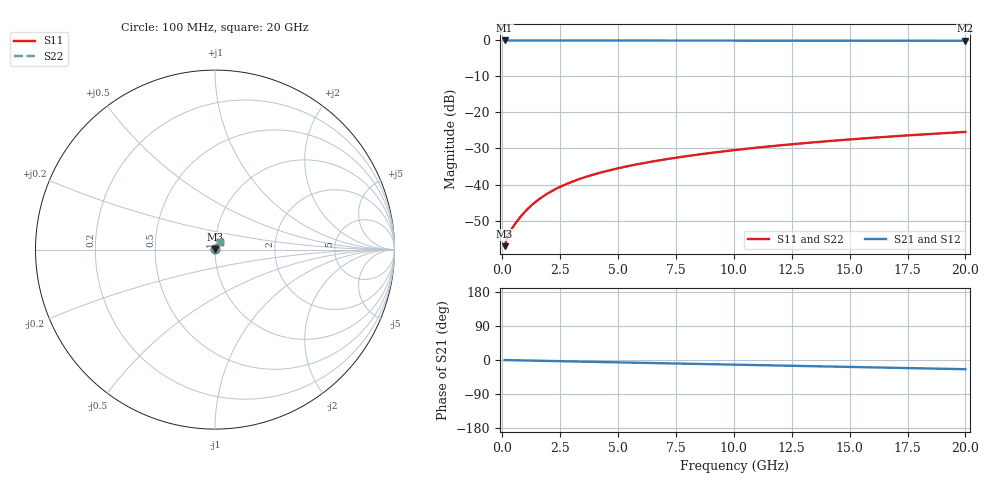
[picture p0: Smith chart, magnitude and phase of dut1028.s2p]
! Touchstone file exported from HFSS 2026.1.0
!  File:  C:/ffzhzh/LocalFiles/Ansys_Project_Files/temp_train_BSMRDL_1028_1783173564_18472.aedt
!  Generated:  10:00:28 PM Jul  4, 2026
!  Design:  BSMRDL
!  Project:  temp_train_BSMRDL_1028_1783173564_18472
! Variables:
!  h_bsmrdl = 5.07um
!  h_ox = 20um
!  h_rdl = 5um
!  h_sub = 80um
!  h_tmrdl = 5um
!  h_tsv = 80um
!  h_via = 3um
!  l_bsmrdl = 416.14um
!  l_sub = 816.14um
!  l_tmrdl = 200um
!  m_sub = 200um
!  pitch = 37.92um
!  r_tsv = 6um
!  s_tmrdl = 10um
!  w_bsmrdl = 29.82um
!  w_sub = 500um
!  w_tmrdl = 12um
!  x_tsv_center1 = 206um
!  x_tsv_center2 = 651.96um
!  x_tsv_center3 = 863.96um
!  x_tsv_center4 = 1309.92um
!  x_tsv_center5 = 1521.92um
!  x_tsv_center6 = 1967.88um
# GHz S MA R 50.000000
! Terminal data exported
! Port[1] = BSM_RDL1_1_T1
! Port[2] = BSM_RDL1_1_T2
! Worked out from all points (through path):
!   200 points, 100 MHz to 20 GHz, reference 50 ohm
!   highest |S21| = -0.01 dB at 100 MHz (marker M1); lowest = -0.1 dB at 20 GHz (marker M2)
!   group delay of S21, straight-line fit = 3.36 ps
!   lowest |S11| = -57.1 dB at 100 MHz (marker M3), VSWR 1.00, Z = 50.1 + j0.0634 ohm
!   |S11| at or under -10 dB: start of sweep to end of sweep
!   |S22| runs from -57.1 to -25.4 dB; largest |S21 - S12| = 1.7e-15
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0.1  0.001393 27.0  0.9988 -0.1  0.9988 -0.1  0.001393 27.0
! Gamma 0 0 0 0
! Port Impedance 50 0 50 0
0.2  0.001791 36.1  0.9986 -0.3  0.9986 -0.3  0.001791 36.1
0.3  0.002108 41.4  0.9984 -0.4  0.9984 -0.4  0.002107 41.4
0.5  0.002683 49.9  0.9982 -0.7  0.9982 -0.7  0.002682 49.9
0.7  0.003288 56.2  0.9981 -0.9  0.9981 -0.9  0.003288 56.2
0.9  0.00393 60.5  0.998 -1.2  0.998 -1.2  0.00393 60.5
1.1  0.004595 63.5  0.998 -1.4  0.998 -1.4  0.004595 63.5
1.3  0.005271 65.6  0.9979 -1.7  0.9979 -1.7  0.005271 65.6
1.7  0.00663 68.1  0.9977 -2.2  0.9977 -2.2  0.00663 68.1
2.2  0.008305 69.4  0.9974 -2.8  0.9974 -2.8  0.008305 69.4
2.8  0.01025 69.9  0.997 -3.5  0.997 -3.5  0.01025 69.9
3.5  0.01242 69.9  0.9966 -4.4  0.9966 -4.4  0.01242 69.9
4.2  0.0145 69.5  0.9961 -5.2  0.9961 -5.2  0.0145 69.6
5  0.01679 69.1  0.9956 -6.2  0.9956 -6.2  0.01679 69.1
5.9  0.01928 68.5  0.9951 -7.3  0.9951 -7.3  0.01928 68.5
6.8  0.0217 67.8  0.9946 -8.4  0.9946 -8.4  0.0217 67.8
8.3  0.02563 66.7  0.9939 -10.2  0.9939 -10.2  0.02563 66.8
10.1  0.03023 65.3  0.9931 -12.4  0.9931 -12.4  0.03022 65.3
11.7  0.03422 63.9  0.9924 -14.3  0.9924 -14.3  0.03422 64.0
13.4  0.03837 62.4  0.9918 -16.4  0.9918 -16.4  0.03837 62.5
16.7  0.04619 59.3  0.9905 -20.3  0.9905 -20.3  0.04619 59.4
20  0.05367 56.0  0.9893 -24.3  0.9893 -24.3  0.05367 56.1
